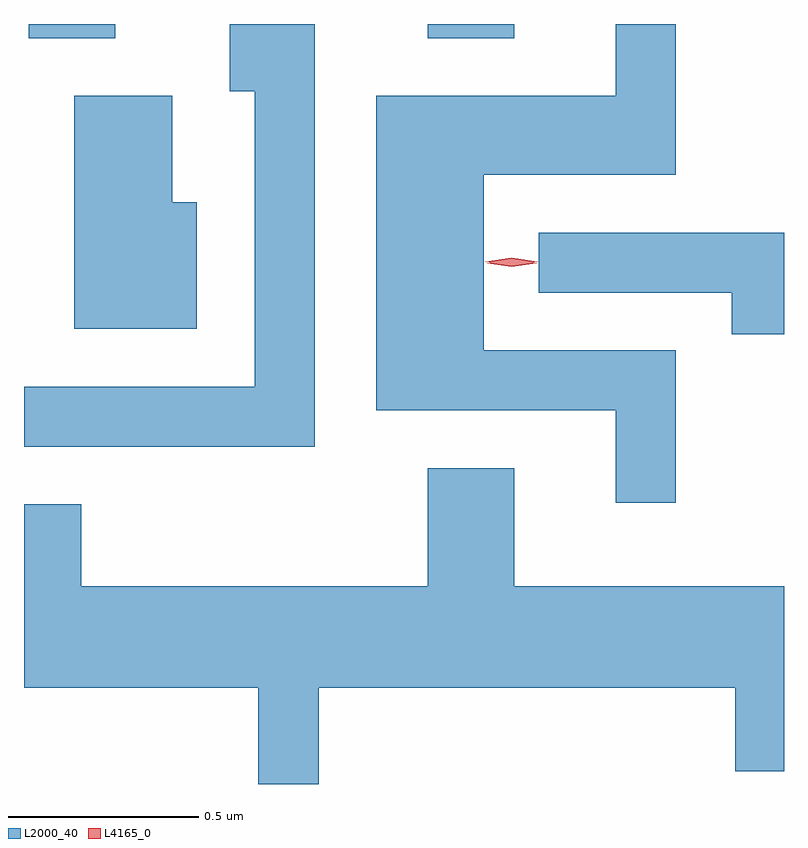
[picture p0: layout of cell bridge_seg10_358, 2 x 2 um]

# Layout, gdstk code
import gdstk
lib = gdstk.Library(unit=1e-6, precision=1e-09)
def R(c, l, rs):  # rectangles x0, y0, x1, y1
    for r in rs: c.add(gdstk.rectangle(r[:2], r[2:], *l))
def P(c, l, *ps):  # polygons
    for p in ps: c.add(gdstk.Polygon(p, *l))
L2000_40 = (2000, 40)
L4165_0 = (4165, 0)

bridge_seg10_358 = lib.new_cell('bridge_seg10_358')
R(bridge_seg10_358, L2000_40, [(1349.911,2171.126,1350.139,2171.163), (1350.961,2171.126,1351.189,2171.163)])
P(bridge_seg10_358, L2000_40, [(1351.614,2170.304),(1351.109,2170.304),(1351.109,2170.766),(1351.614,2170.766),(1351.614,2171.163),(1351.456,2171.163),(1351.456,2170.974),(1350.826,2170.974),(1350.826,2170.146),(1351.456,2170.146),(1351.456,2169.903),(1351.614,2169.903)],
  [(1350.664,2171.163),(1350.441,2171.163),(1350.441,2170.986),(1350.506,2170.986),(1350.506,2170.209),(1349.899,2170.209),(1349.899,2170.051),(1350.664,2170.051)],
  [(1350.354,2170.694),(1350.289,2170.694),(1350.289,2170.974),(1350.031,2170.974),(1350.031,2170.361),(1350.354,2170.361)],
  [(1351.899,2170.614),(1351.253,2170.614),(1351.253,2170.456),(1351.761,2170.456),(1351.761,2170.346),(1351.899,2170.346)],
  [(1350.674,2169.416),(1351.771,2169.416),(1351.771,2169.196),(1351.899,2169.196),(1351.899,2169.684),(1351.189,2169.684),(1351.189,2169.994),(1350.961,2169.994),(1350.961,2169.684),(1350.049,2169.684),(1350.049,2169.899),(1349.899,2169.899),(1349.899,2169.416),(1350.516,2169.416),(1350.516,2169.163),(1350.674,2169.163)])
P(bridge_seg10_358, L4165_0, [(1351.182,2170.528),(1351.113,2170.537),(1351.113,2170.538),(1351.113,2170.538),(1351.182,2170.548),(1351.251,2170.538),(1351.251,2170.537),(1351.251,2170.537)],
  [(1351.183,2170.524),(1351.118,2170.533),(1351.118,2170.533),(1351.118,2170.534),(1351.183,2170.544),(1351.247,2170.534),(1351.248,2170.533),(1351.247,2170.533)])

lib.write_gds('bridge_seg10_358.gds')
